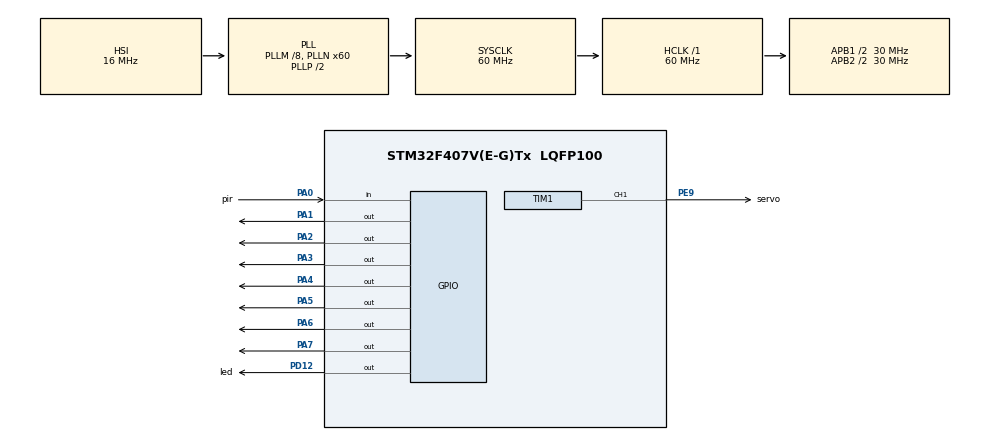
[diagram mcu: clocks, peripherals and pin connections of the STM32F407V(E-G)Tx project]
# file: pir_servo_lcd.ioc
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Mcu.Family=STM32F4
Mcu.Name=STM32F407V(E-G)Tx
Mcu.Package=LQFP100
NVIC.PriorityGroup=NVIC_PRIORITYGROUP_4
PA0-WKUP.GPIO_Label=pir
PA0-WKUP.Signal=GPIO_Input
PA1.Signal=GPIO_Output
PA2.Signal=GPIO_Output
PA3.Signal=GPIO_Output
PA4.Signal=GPIO_Output
PA5.Signal=GPIO_Output
PA6.Signal=GPIO_Output
PA7.Signal=GPIO_Output
PD12.GPIO_Label=led
PD12.Signal=GPIO_Output
PE9.GPIO_Label=servo
PE9.Signal=S_TIM1_CH1
ProjectManager.HeapSize=0x200
ProjectManager.StackSize=0x400
ProjectManager.TargetToolchain=STM32CubeIDE
RCC.48MHZClocksFreq_Value=30000000
RCC.AHBFreq_Value=60000000
RCC.APB1CLKDivider=RCC_HCLK_DIV2
RCC.APB1Freq_Value=30000000
RCC.APB1TimFreq_Value=60000000
RCC.APB2CLKDivider=RCC_HCLK_DIV2
RCC.APB2Freq_Value=30000000
RCC.APB2TimFreq_Value=60000000
RCC.CortexFreq_Value=60000000
RCC.HCLKFreq_Value=60000000
RCC.HSE_VALUE=25000000
RCC.HSI_VALUE=16000000
RCC.LSE_VALUE=32768
RCC.PLLM=8
RCC.PLLN=60
RCC.SYSCLKFreq_VALUE=60000000
RCC.SYSCLKSource=RCC_SYSCLKSOURCE_PLLCLK
RCC.VCOOutputFreq_Value=120000000
SH.S_TIM1_CH1.0=TIM1_CH1,PWM Generation1 CH1
TIM1.Channel-PWM\ Generation1\ CH1=TIM_CHANNEL_1
TIM1.Period=1000-1
TIM1.Prescaler=1200-1
TIM2.Period=0xffff-1
TIM2.Prescaler=60-1
VP_TIM1_VS_ClockSourceINT.Mode=Internal
VP_TIM2_VS_ClockSourceINT.Mode=Internal
board=custom

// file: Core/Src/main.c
/* USER CODE BEGIN Header */
/**
  ******************************************************************************
  * @file           : main.c
  * @brief          : Main program body
  ******************************************************************************
  * @attention
  *
  * Copyright (c) 2025 STMicroelectronics.
  * All rights reserved.
  *
  * This software is licensed under terms that can be found in the LICENSE file
  * in the root directory of this software component.
  * If no LICENSE file comes with this software, it is provided AS-IS.
  *
  ******************************************************************************
  */
/* USER CODE END Header */
#include "main.h"

/* USER CODE BEGIN Includes */
#include "lcd.h"// Include the LCD library
/* USER CODE END Includes */

TIM_HandleTypeDef htim1;
TIM_HandleTypeDef htim2;

/* USER CODE BEGIN PV */
int mantion;// PIR sensor state
int movement; // Door movement state (0 = stopped/closed, 1 = opened)
int open_number; // Counter for door openings
/* USER CODE END PV */

void SystemClock_Config(void);
static void MX_GPIO_Init(void);
static void MX_TIM1_Init(void);
static void MX_TIM2_Init(void);
/* USER CODE BEGIN PFP */
void open_number_write(int number); // Function to display the number of times the door opened

/* USER CODE END PFP */

/* USER CODE BEGIN 0 */
/*
int row=0;
int col=0;
*/
/* USER CODE END 0 */

int main(void)
{

  /* MCU Configuration--------------------------------------------------------*/

  /* Reset of all peripherals, Initializes the Flash interface and the Systick. */
  HAL_Init();

  /* Configure the system clock */
  SystemClock_Config();

  /* Initialize all configured peripherals */
  MX_GPIO_Init();
  MX_TIM1_Init();
  MX_TIM2_Init();
  /* USER CODE BEGIN 2 */
  HAL_TIM_PWM_Start(&htim1,TIM_CHANNEL_1);// Start PWM for servo(servo control)
  HAL_TIM_Base_Start(&htim2);// Start timer for LCD
  lcd_init(); // Initialize the LCD

  // Display greeting message on LCD
  lcd_put_cur(0,0);
  lcd_send_string("HELLO");
  lcd_put_cur(0,6);
  lcd_send_string("WORLD");
  lcd_put_cur(1,0);
  lcd_send_string("FROM");
  lcd_put_cur(1,5);
  lcd_send_string("MLK");
  HAL_Delay(2000);

  lcd_clear();// Clear LCD after greeting
  /* USER CODE END 2 */

  /* Infinite loop */
  while (1)
  {

    /* USER CODE BEGIN 3 */
	  //pir

	  mantion = HAL_GPIO_ReadPin(GPIOA, GPIO_PIN_0); // Read PIR sensor
	  if(mantion && !movement){ // Motion detected and door is not moving -> Open the door
		  lcd_clear();
		  __HAL_TIM_SET_COMPARE(&htim1, TIM_CHANNEL_1, 50);  // Move servo to open position
		  HAL_GPIO_WritePin(GPIOD, GPIO_PIN_12, GPIO_PIN_SET);  // Turn on LED
		  lcd_put_cur(0,0);
		  lcd_send_string("DORE IS");
		  lcd_put_cur(1,0);
		  lcd_send_string("OPINING");
		  HAL_Delay(1000);
		  __HAL_TIM_SET_COMPARE(&htim1, TIM_CHANNEL_1, 75); // Stop servo
		  movement=1;
		  open_number++;
		  open_number_write(open_number);// Update LCD with open count

	  } else if(!mantion && movement) {  // No motion and door was open -> Close the door
		  lcd_clear();
		  __HAL_TIM_SET_COMPARE(&htim1, TIM_CHANNEL_1, 100); // Move servo to close position
		  HAL_GPIO_WritePin(GPIOD, GPIO_PIN_12, GPIO_PIN_RESET); // Turn off LED
		  lcd_put_cur(0,0);
		  lcd_send_string("DORE IS");
		  lcd_put_cur(1,0);
		  lcd_send_string("CLOSING");
		  HAL_Delay(1000);
		  __HAL_TIM_SET_COMPARE(&htim1, TIM_CHANNEL_1, 75); // Stop servo
		  movement=0;
		  open_number_write(open_number); // Update LCD with open count
	  }
  }
  /* USER CODE END 3 */
}

void SystemClock_Config(void)
{
  RCC_OscInitTypeDef RCC_OscInitStruct = {0};
  RCC_ClkInitTypeDef RCC_ClkInitStruct = {0};

  /** Configure the main internal regulator output voltage
  */
  __HAL_RCC_PWR_CLK_ENABLE();
  __HAL_PWR_VOLTAGESCALING_CONFIG(PWR_REGULATOR_VOLTAGE_SCALE1);

  /** Initializes the RCC Oscillators according to the specified parameters
  * in the RCC_OscInitTypeDef structure.
  */
  RCC_OscInitStruct.OscillatorType = RCC_OSCILLATORTYPE_HSI;
  RCC_OscInitStruct.HSIState = RCC_HSI_ON;
  RCC_OscInitStruct.HSICalibrationValue = RCC_HSICALIBRATION_DEFAULT;
  RCC_OscInitStruct.PLL.PLLState = RCC_PLL_ON;
  RCC_OscInitStruct.PLL.PLLSource = RCC_PLLSOURCE_HSI;
  RCC_OscInitStruct.PLL.PLLM = 8;
  RCC_OscInitStruct.PLL.PLLN = 60;
  RCC_OscInitStruct.PLL.PLLP = RCC_PLLP_DIV2;
  RCC_OscInitStruct.PLL.PLLQ = 4;
  if (HAL_RCC_OscConfig(&RCC_OscInitStruct) != HAL_OK)
  {
    Error_Handler();
  }

  /** Initializes the CPU, AHB and APB buses clocks
  */
  RCC_ClkInitStruct.ClockType = RCC_CLOCKTYPE_HCLK|RCC_CLOCKTYPE_SYSCLK
                              |RCC_CLOCKTYPE_PCLK1|RCC_CLOCKTYPE_PCLK2;
  RCC_ClkInitStruct.SYSCLKSource = RCC_SYSCLKSOURCE_PLLCLK;
  RCC_ClkInitStruct.AHBCLKDivider = RCC_SYSCLK_DIV1;
  RCC_ClkInitStruct.APB1CLKDivider = RCC_HCLK_DIV2;
  RCC_ClkInitStruct.APB2CLKDivider = RCC_HCLK_DIV2;

  if (HAL_RCC_ClockConfig(&RCC_ClkInitStruct, FLASH_LATENCY_1) != HAL_OK)
  {
    Error_Handler();
  }
}

static void MX_TIM1_Init(void)
{

  TIM_ClockConfigTypeDef sClockSourceConfig = {0};
  TIM_MasterConfigTypeDef sMasterConfig = {0};
  TIM_OC_InitTypeDef sConfigOC = {0};
  TIM_BreakDeadTimeConfigTypeDef sBreakDeadTimeConfig = {0};

  htim1.Instance = TIM1;
  htim1.Init.Prescaler = 1200-1;
  htim1.Init.CounterMode = TIM_COUNTERMODE_UP;
  htim1.Init.Period = 1000-1;
  htim1.Init.ClockDivision = TIM_CLOCKDIVISION_DIV1;
  htim1.Init.RepetitionCounter = 0;
  htim1.Init.AutoReloadPreload = TIM_AUTORELOAD_PRELOAD_DISABLE;
  if (HAL_TIM_Base_Init(&htim1) != HAL_OK)
  {
    Error_Handler();
  }
  sClockSourceConfig.ClockSource = TIM_CLOCKSOURCE_INTERNAL;
  if (HAL_TIM_ConfigClockSource(&htim1, &sClockSourceConfig) != HAL_OK)
  {
    Error_Handler();
  }
  if (HAL_TIM_PWM_Init(&htim1) != HAL_OK)
  {
    Error_Handler();
  }
  sMasterConfig.MasterOutputTrigger = TIM_TRGO_RESET;
  sMasterConfig.MasterSlaveMode = TIM_MASTERSLAVEMODE_DISABLE;
  if (HAL_TIMEx_MasterConfigSynchronization(&htim1, &sMasterConfig) != HAL_OK)
  {
    Error_Handler();
  }
  sConfigOC.OCMode = TIM_OCMODE_PWM1;
  sConfigOC.Pulse = 0;
  sConfigOC.OCPolarity = TIM_OCPOLARITY_HIGH;
  sConfigOC.OCNPolarity = TIM_OCNPOLARITY_HIGH;
  sConfigOC.OCFastMode = TIM_OCFAST_DISABLE;
  sConfigOC.OCIdleState = TIM_OCIDLESTATE_RESET;
  sConfigOC.OCNIdleState = TIM_OCNIDLESTATE_RESET;
  if (HAL_TIM_PWM_ConfigChannel(&htim1, &sConfigOC, TIM_CHANNEL_1) != HAL_OK)
  {
    Error_Handler();
  }
  sBreakDeadTimeConfig.OffStateRunMode = TIM_OSSR_DISABLE;
  sBreakDeadTimeConfig.OffStateIDLEMode = TIM_OSSI_DISABLE;
  sBreakDeadTimeConfig.LockLevel = TIM_LOCKLEVEL_OFF;
  sBreakDeadTimeConfig.DeadTime = 0;
  sBreakDeadTimeConfig.BreakState = TIM_BREAK_DISABLE;
  sBreakDeadTimeConfig.BreakPolarity = TIM_BREAKPOLARITY_HIGH;
  sBreakDeadTimeConfig.AutomaticOutput = TIM_AUTOMATICOUTPUT_DISABLE;
  if (HAL_TIMEx_ConfigBreakDeadTime(&htim1, &sBreakDeadTimeConfig) != HAL_OK)
  {
    Error_Handler();
  }
  HAL_TIM_MspPostInit(&htim1);

}

static void MX_TIM2_Init(void)
{

  TIM_ClockConfigTypeDef sClockSourceConfig = {0};
  TIM_MasterConfigTypeDef sMasterConfig = {0};

  htim2.Instance = TIM2;
  htim2.Init.Prescaler = 60-1;
  htim2.Init.CounterMode = TIM_COUNTERMODE_UP;
  htim2.Init.Period = 0xffff-1;
  htim2.Init.ClockDivision = TIM_CLOCKDIVISION_DIV1;
  htim2.Init.AutoReloadPreload = TIM_AUTORELOAD_PRELOAD_DISABLE;
  if (HAL_TIM_Base_Init(&htim2) != HAL_OK)
  {
    Error_Handler();
  }
  sClockSourceConfig.ClockSource = TIM_CLOCKSOURCE_INTERNAL;
  if (HAL_TIM_ConfigClockSource(&htim2, &sClockSourceConfig) != HAL_OK)
  {
    Error_Handler();
  }
  sMasterConfig.MasterOutputTrigger = TIM_TRGO_RESET;
  sMasterConfig.MasterSlaveMode = TIM_MASTERSLAVEMODE_DISABLE;
  if (HAL_TIMEx_MasterConfigSynchronization(&htim2, &sMasterConfig) != HAL_OK)
  {
    Error_Handler();
  }

}

static void MX_GPIO_Init(void)
{
  GPIO_InitTypeDef GPIO_InitStruct = {0};

  /* GPIO Ports Clock Enable */
  __HAL_RCC_GPIOA_CLK_ENABLE();
  __HAL_RCC_GPIOE_CLK_ENABLE();
  __HAL_RCC_GPIOD_CLK_ENABLE();

  /*Configure GPIO pin Output Level */
  HAL_GPIO_WritePin(GPIOA, GPIO_PIN_1|GPIO_PIN_2|GPIO_PIN_3|GPIO_PIN_4
                          |GPIO_PIN_5|GPIO_PIN_6|GPIO_PIN_7, GPIO_PIN_RESET);

  /*Configure GPIO pin Output Level */
  HAL_GPIO_WritePin(led_GPIO_Port, led_Pin, GPIO_PIN_RESET);

  /*Configure GPIO pin : pir_Pin */
  GPIO_InitStruct.Pin = pir_Pin;
  GPIO_InitStruct.Mode = GPIO_MODE_INPUT;
  GPIO_InitStruct.Pull = GPIO_NOPULL;
  HAL_GPIO_Init(pir_GPIO_Port, &GPIO_InitStruct);

  /*Configure GPIO pins : PA1 PA2 PA3 PA4
                           PA5 PA6 PA7 */
  GPIO_InitStruct.Pin = GPIO_PIN_1|GPIO_PIN_2|GPIO_PIN_3|GPIO_PIN_4
                          |GPIO_PIN_5|GPIO_PIN_6|GPIO_PIN_7;
  GPIO_InitStruct.Mode = GPIO_MODE_OUTPUT_PP;
  GPIO_InitStruct.Pull = GPIO_NOPULL;
  GPIO_InitStruct.Speed = GPIO_SPEED_FREQ_LOW;
  HAL_GPIO_Init(GPIOA, &GPIO_InitStruct);

  /*Configure GPIO pin : led_Pin */
  GPIO_InitStruct.Pin = led_Pin;
  GPIO_InitStruct.Mode = GPIO_MODE_OUTPUT_PP;
  GPIO_InitStruct.Pull = GPIO_NOPULL;
  GPIO_InitStruct.Speed = GPIO_SPEED_FREQ_LOW;
  HAL_GPIO_Init(led_GPIO_Port, &GPIO_InitStruct);

}

/* USER CODE BEGIN 4 */
void open_number_write(int number){
	char buffer[5];
	lcd_clear();
	sprintf(buffer, "%d", number); // Convert int to string
	lcd_put_cur(0,0);
	lcd_send_string("Open Number:");
	lcd_put_cur(1,0);
	lcd_send_string(buffer);
}
/* USER CODE END 4 */

void Error_Handler(void)
{
  __disable_irq();
  while (1)
  {
  }
}
